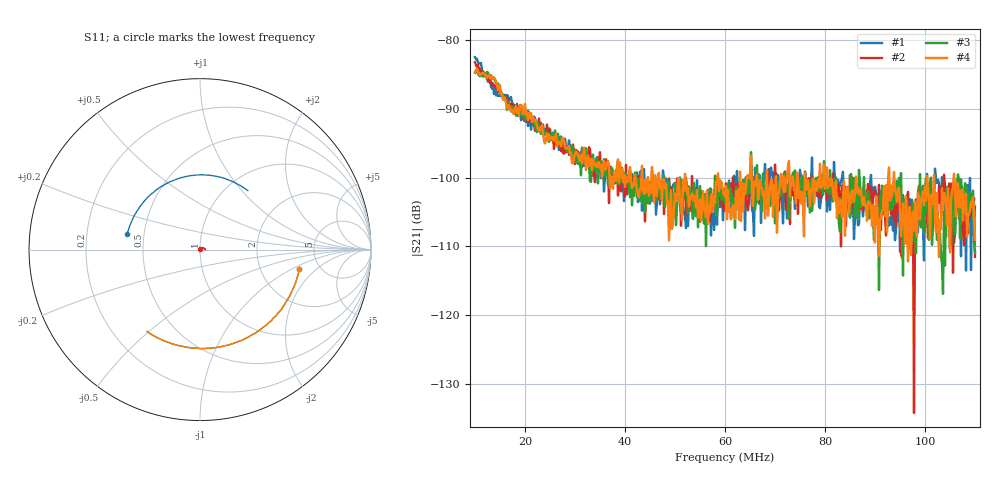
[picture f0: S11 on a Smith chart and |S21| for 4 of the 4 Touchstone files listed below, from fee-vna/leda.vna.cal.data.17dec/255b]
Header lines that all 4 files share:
! Anritsu VNA Master:  Model: MS2036C/10/77
! SN:  1601066
! Existing Calibration Information:
! TYPE:  Current Settings,  Active Cal Settings
! INTERNAL TEMP:  40.0 C,  39.3 C
! # POINTS:  501,  501
! START FREQ:  10.000 MHz,  10.000 MHz
! STOP FREQ:  110.000 MHz,  110.000 MHz
! SOURCE POWER:  High,  High
! IFBW:  100 Hz,  100 Hz
! AVG FACTOR:  1 ,  1
! REF PLANE 1:  0 mm,  0 mm
! REF PLANE 2:  0 mm,  0 mm
! CAL TYPE:  Full S11,  Full S11
! CAL METHOD:  SOLT,  SOLT
! CAL LINE TYPE:  Coax,  Coax
! DUT PORT 1:  N-Conn(F),  N-Conn(F)
! DUT PORT 2:  K-Conn(F),  K-Conn(F)
! CAL STATUS:  OK: Accuracy High,  --
# GHZ S DB R 50.0
! FREQ.GHZ  S11DB  S11A  S21DB  S21A  S12DB  S12A  S22DB  S22A
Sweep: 10 MHz to 110 MHz
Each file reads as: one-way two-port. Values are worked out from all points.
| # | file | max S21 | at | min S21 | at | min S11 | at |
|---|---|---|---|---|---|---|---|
| 1 | 255.ns.sma.r20.22.s2p | -82.54 dB | 10 MHz | -113.5 dB | 108.2 MHz | -7.3 dB | 30.6 MHz |
| 2 | 255.ns.sma.r50.21.s2p | -83.24 dB | 10 MHz | -134.2 dB | 97.8 MHz | -44.9 dB | 10 MHz |
| 3 | 255.ns.sma.r200.21.s2p | -84.38 dB | 10.2 MHz | -116.9 dB | 103.6 MHz | -4.9 dB | 110 MHz |
| 4 | 255.ns.sma.r200.22.s2p | -84.17 dB | 10.4 MHz | -112.2 dB | 96.6 MHz | -4.9 dB | 109.6 MHz |
